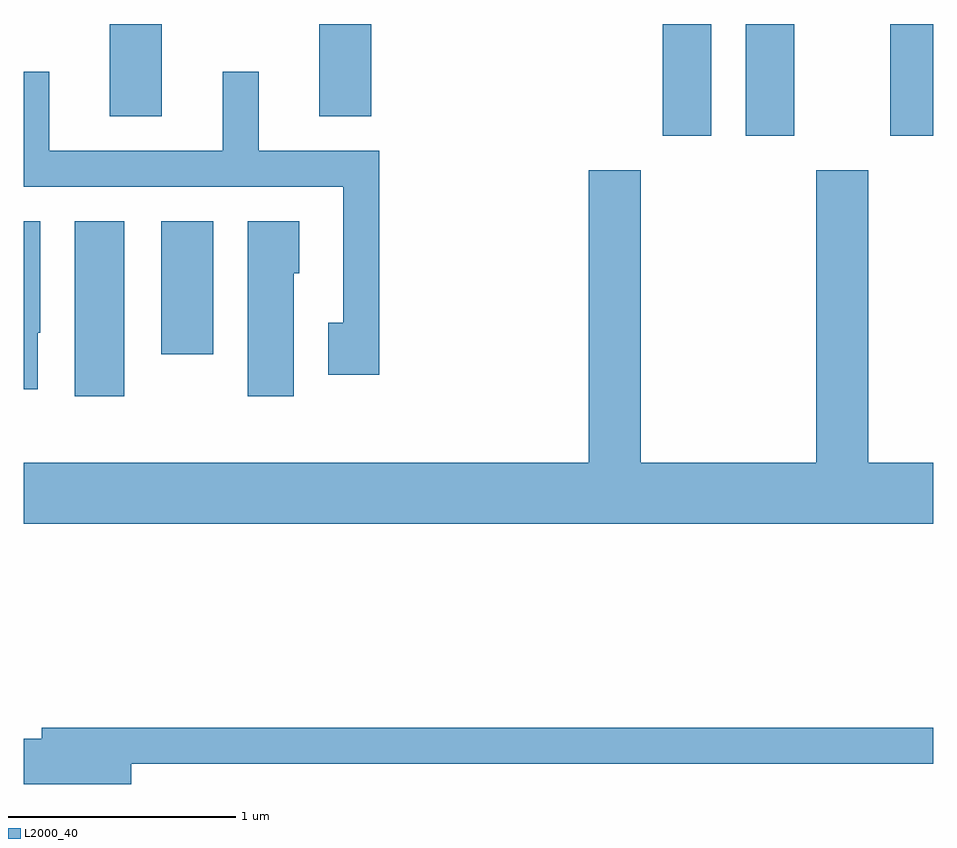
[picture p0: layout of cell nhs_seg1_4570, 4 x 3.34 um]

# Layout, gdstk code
import gdstk
lib = gdstk.Library(unit=1e-6, precision=1e-09)
def R(c, l, rs):  # rectangles x0, y0, x1, y1
    for r in rs: c.add(gdstk.rectangle(r[:2], r[2:], *l))
def P(c, l, *ps):  # polygons
    for p in ps: c.add(gdstk.Polygon(p, *l))
L2000_40 = (2000, 40)

nhs_seg1_4570 = lib.new_cell('nhs_seg1_4570')
R(nhs_seg1_4570, L2000_40, [(321.836,960.076,322.054,960.844), (322.216,960.261,322.444,960.844), (324.421,961.221,324.634,961.712), (324.786,961.221,324.999,961.712), (325.421,961.221,325.611,961.712), (321.991,961.306,322.219,961.712), (322.911,961.306,323.139,961.712)])
P(nhs_seg1_4570, L2000_40, [(323.174,961.154),(322.644,961.154),(322.644,961.503),(322.486,961.503),(322.486,961.154),(321.724,961.154),(321.724,961.503),(321.611,961.503),(321.611,960.996),(323.016,960.996),(323.016,960.399),(322.951,960.399),(322.951,960.171),(323.174,960.171)],
  [(325.611,959.784),(325.324,959.784),(325.324,961.069),(325.096,961.069),(325.096,959.784),(324.324,959.784),(324.324,961.069),(324.096,961.069),(324.096,959.784),(321.611,959.784),(321.611,959.516),(325.611,959.516)],
  [(321.674,960.355),(321.684,960.355),(321.684,960.844),(321.611,960.844),(321.611,960.106),(321.674,960.106)],
  [(322.799,960.616),(322.824,960.616),(322.824,960.844),(322.596,960.844),(322.596,960.076),(322.799,960.076)],
  [(322.084,958.461),(325.611,958.461),(325.611,958.619),(321.691,958.619),(321.691,958.569),(321.611,958.569),(321.611,958.371),(322.084,958.371)])

lib.write_gds('nhs_seg1_4570.gds')
